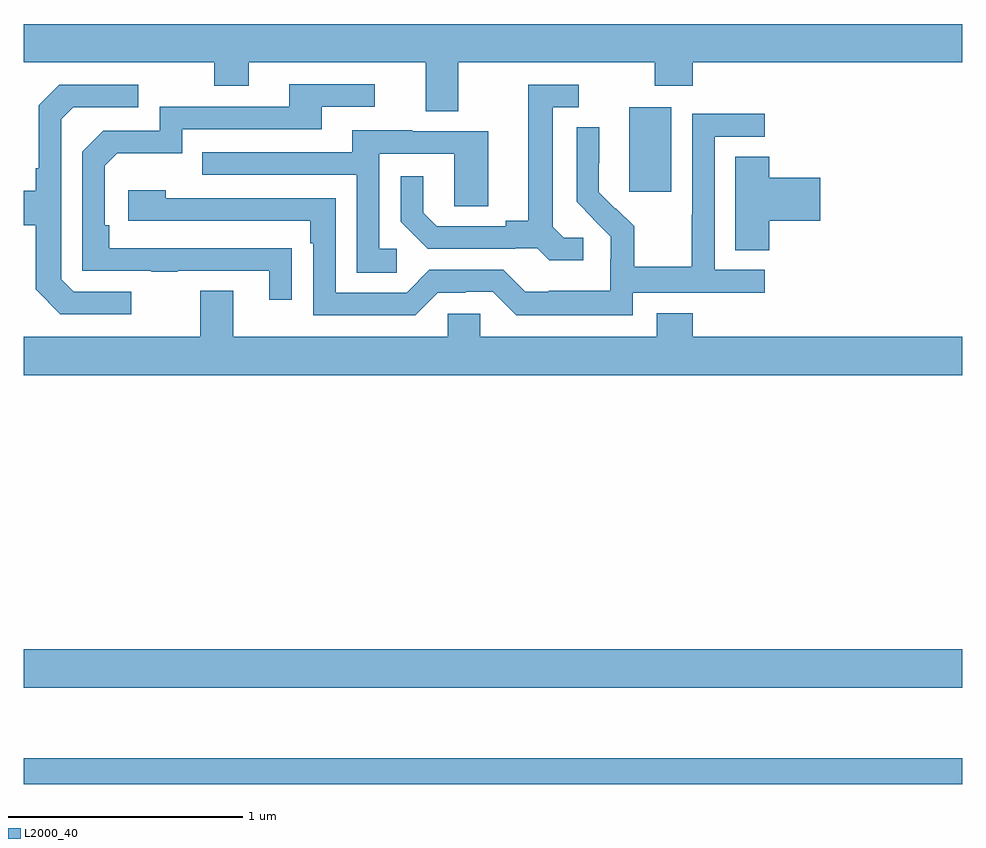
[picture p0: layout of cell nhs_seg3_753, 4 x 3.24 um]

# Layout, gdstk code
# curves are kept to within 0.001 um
import gdstk
lib = gdstk.Library(unit=1e-6, precision=1e-09)
def R(c, l, rs):  # rectangles x0, y0, x1, y1
    for r in rs: c.add(gdstk.rectangle(r[:2], r[2:], *l))
def P(c, l, *ps):  # polygons
    for p in ps: c.add(gdstk.Polygon(p, *l))
L2000_40 = (2000, 40)

nhs_seg3_753 = lib.new_cell('nhs_seg3_753')
R(nhs_seg3_753, L2000_40, [(149,688.518,153,688.627), (149,688.928,153,689.092), (151.58,691.041,151.759,691.402)])
P(nhs_seg3_753, L2000_40, [(150.853,691.592),(151.69,691.592),(151.69,691.493),(151.85,691.493),(151.85,691.592),(153,691.592),(153,691.756),(149,691.756),(149,691.592),(149.812,691.592),(149.812,691.493),(149.959,691.493),(149.959,691.592),(150.713,691.592),(150.713,691.384),(150.853,691.384)],
  [(150.143,690.8),(149.366,690.801),(149.366,690.898),(149.346,690.898),(149.346,691.152),(149.399,691.205),(149.676,691.205),(149.676,691.308),(150.271,691.308),(150.271,691.404),(150.496,691.404),(150.496,691.5),(150.131,691.5),(150.131,691.404),(149.58,691.404),(149.58,691.302),(149.34,691.302),(149.25,691.212),(149.25,690.705),(149.545,690.705),(149.545,690.7),(149.657,690.7),(149.657,690.705),(150.047,690.705),(150.047,690.582),(150.143,690.582)],
  [(149.458,690.615),(149.214,690.615),(149.16,690.669),(149.16,691.35),(149.211,691.401),(149.488,691.401),(149.488,691.497),(149.151,691.497),(149.064,691.41),(149.064,691.141),(149.052,691.141),(149.052,691.045),(149,691.045),(149,690.898),(149.052,690.898),(149.052,690.625),(149.157,690.519),(149.458,690.519)],
  [(151.384,690.846),(151.302,690.846),(151.255,690.893),(151.255,691.401),(151.366,691.401),(151.366,691.497),(151.151,691.497),(151.151,690.917),(151.055,690.917),(151.055,690.894),(150.76,690.894),(150.703,690.951),(150.703,691.108),(150.606,691.108),(150.606,690.914),(150.722,690.798),(151.094,690.798),(151.094,690.801),(151.188,690.801),(151.24,690.749),(151.384,690.749)],
  [(151.596,690.612),(152.158,690.612),(152.158,690.708),(151.944,690.708),(151.944,691.275),(152.158,691.275),(152.158,691.374),(151.848,691.374),(151.848,690.944),(151.846,690.944),(151.846,690.721),(151.601,690.721),(151.601,690.895),(151.524,690.972),(151.521,690.969),(151.451,691.04),(151.452,691.316),(151.356,691.316),(151.356,690.998),(151.502,690.85),(151.502,690.753),(151.5,690.753),(151.5,690.619),(151.237,690.619),(151.237,690.615),(151.137,690.615),(151.044,690.708),(150.729,690.708),(150.633,690.612),(150.33,690.612),(150.33,691.014),(149.606,691.014),(149.606,691.048),(149.445,691.048),(149.445,690.918),(150.221,690.918),(150.221,690.821),(150.234,690.821),(150.234,690.516),(150.669,690.516),(150.765,690.612),(150.884,690.612),(150.884,690.615),(150.999,690.615),(151.099,690.515),(151.596,690.515)],
  [(150.589,690.798),(150.516,690.798),(150.516,691.203),(150.834,691.203),(150.834,690.979),(150.979,690.979),(150.979,691.299),(150.655,691.299),(150.655,691.303),(150.401,691.303),(150.401,691.209),(149.761,691.209),(149.761,691.113),(150.42,691.113),(150.42,690.697),(150.589,690.697)],
  [(152.177,690.917),(152.395,690.917),(152.395,691.1),(152.177,691.1),(152.177,691.19),(152.033,691.19),(152.033,690.793),(152.177,690.793)],
  [(153,690.424),(151.85,690.424),(151.85,690.523),(151.697,690.523),(151.697,690.424),(150.945,690.424),(150.945,690.522),(150.807,690.522),(150.807,690.424),(149.893,690.424),(149.893,690.619),(149.753,690.619),(149.753,690.424),(149,690.424),(149,690.26),(153,690.26)])

lib.write_gds('nhs_seg3_753.gds')
